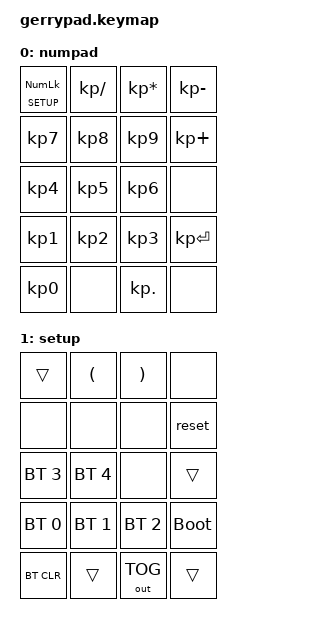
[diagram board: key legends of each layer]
/*
 * Copyright (c) 2020 The ZMK Contributors
 *
 * SPDX-License-Identifier: MIT
 */

#include <behaviors.dtsi>
#include <dt-bindings/zmk/keys.h>
#include <dt-bindings/zmk/bt.h>
#include <dt-bindings/zmk/outputs.h>
#include <dt-bindings/zmk/bt.h>

#define NUMPAD 0
#define SETUP  1


/ {
    keymap {
        compatible = "zmk,keymap";

        numpad {
// ---------------------------
// |NL/SETUP | / | * |   -   |
// | 7       | 8 | 9 |   +   |
// | 4       | 5 | 6 |       |
// | 1       | 2 | 3 | Enter |
// | &mo 1   |   | . |       |
// ---------------------------
            bindings = <
    &lt SETUP KP_NLCK  &kp KP_DIVIDE  &kp KP_MULTIPLY  &kp KP_MINUS
    &kp KP_N7          &kp KP_N8      &kp KP_N9        &kp KP_PLUS
    &kp KP_N4          &kp KP_N5      &kp KP_N6        &none
    &kp KP_N1          &kp KP_N2      &kp KP_N3        &kp KP_ENTER
    &kp KP_N0          &none          &kp KP_DOT       &none
            >;
        };

        setup {
// ---------------------------
// |NL/SETUP | / | * |   -   |
// | 7       | 8 | 9 | Reset   |
// | 4       | 5 | 6 |       |
// | 1       | 2 | 3 | Bootloader |
// | &mo 1   |   | . |       |
// ---------------------------
            bindings = <
    &trans          &kp LPAR       &kp RPAR        &none
    &none           &none          &none           &reset
    &bt BT_SEL 3    &bt BT_SEL 4   &none           &trans
    &bt BT_SEL 0    &bt BT_SEL 1   &bt BT_SEL 2    &bootloader
    &bt BT_CLR      &trans         &out OUT_TOG    &trans
            >;
        };

    };
};

